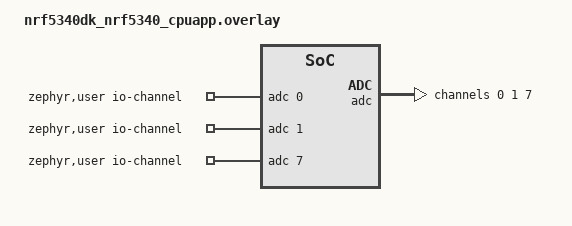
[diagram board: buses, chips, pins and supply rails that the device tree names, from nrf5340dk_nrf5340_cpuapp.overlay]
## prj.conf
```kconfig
CONFIG_GPIO=y

CONFIG_ADC=y
CONFIG_ADC_ASYNC=y
```

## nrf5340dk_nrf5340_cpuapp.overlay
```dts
// To get started, press Ctrl+Space to bring up the completion menu and view the available nodes.

// You can also use the buttons in the sidebar to perform actions on nodes.
// Actions currently available include:

// * Enabling / disabling the node
// * Adding the bus to a bus
// * Removing the node
// * Connecting ADC channels

// For more help, browse the DeviceTree documentation at https://docs.zephyrproject.org/latest/guides/dts/index.html
// You can also visit the nRF DeviceTree extension documentation at https://nrfconnect.github.io/vscode-nrf-connect/devicetree/nrfdevicetree.html


/ {
	zephyr,user {
		io-channels = <&adc 0>, <&adc 1>, <&adc 7>;
	};
};

&adc {
	#address-cells = <1>;
	#size-cells = <0>;

	channel@0 {
		reg = <0>;
		zephyr,gain = "ADC_GAIN_1_6";
		zephyr,reference = "ADC_REF_INTERNAL";
		zephyr,acquisition-time = <ADC_ACQ_TIME_DEFAULT>;
		zephyr,input-positive = <NRF_SAADC_AIN0>; /* P0.04 */
		zephyr,resolution = <12>;
	};

	channel@1 {
		reg = <1>;
		zephyr,gain = "ADC_GAIN_1_6";
		zephyr,reference = "ADC_REF_INTERNAL";
		zephyr,acquisition-time = <ADC_ACQ_TIME_DEFAULT>;
		zephyr,input-positive = <NRF_SAADC_VDD>;
		zephyr,resolution = <14>;
		zephyr,oversampling = <8>;
	};

	channel@7 {
		reg = <7>;
		zephyr,gain = "ADC_GAIN_1_5";
		zephyr,reference = "ADC_REF_VDD_1_4";
		zephyr,vref-mv = <750>;
		zephyr,acquisition-time = <ADC_ACQ_TIME_DEFAULT>;
		zephyr,input-positive = <NRF_SAADC_AIN6>; /* P0.30 */
		zephyr,input-negative = <NRF_SAADC_AIN7>; /* P0.31 */
		zephyr,resolution = <12>;
	};
};
```

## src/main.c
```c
/*
 * Copyright (c) 2016 Intel Corporation
 *
 * SPDX-License-Identifier: Apache-2.0
 */

#include <inttypes.h>
#include <stddef.h>
#include <stdint.h>

#include <zephyr/kernel.h>
#include <zephyr/drivers/gpio.h>
#include <zephyr/drivers/adc.h>
#include <zephyr/device.h>
#include <zephyr/devicetree.h>
#include <zephyr/sys/printk.h>
#include <zephyr/sys/util.h>

#if !DT_NODE_EXISTS(DT_PATH(zephyr_user)) || \
	!DT_NODE_HAS_PROP(DT_PATH(zephyr_user), io_channels)
#error "No suitable devicetree overlay specified"
#endif

#define DT_SPEC_AND_COMMA(node_id, prop, idx) \
	ADC_DT_SPEC_GET_BY_IDX(node_id, idx),

/* 1000 msec = 1 sec */
#define SLEEP_TIME_MS   1000

/* The devicetree node identifier for the "led0" alias. */
#define LED0_NODE DT_ALIAS(led0)

/*
 * A build error on this line means your board is unsupported.
 * See the sample documentation for information on how to fix this.
 */
static const struct gpio_dt_spec led = GPIO_DT_SPEC_GET(LED0_NODE, gpios);
static const struct gpio_dt_spec led_1 = GPIO_DT_SPEC_GET(DT_ALIAS(led1), gpios);
static const struct gpio_dt_spec button = GPIO_DT_SPEC_GET(DT_ALIAS(sw0), gpios);

//static const struct adc_dt_spec adc_chan0 = ADC_DT_SPEC_GET_BY_IDX(DT_PATH(zephyr_user), 0);

//static const struct adc_channel_cfg ch0_cfg_dt = ADC_CHANNEL_CFG_DT(DT_CHILD(DT_NODELABEL(adc), channel_0));

static const struct adc_dt_spec adc_channels[] = {
	DT_FOREACH_PROP_ELEM(DT_PATH(zephyr_user), io_channels,
			     DT_SPEC_AND_COMMA)
};

void main(void)
{
	int ret;

	int err;
	uint32_t count = 0;
	uint16_t buf;
	struct adc_sequence sequence = {
		.buffer = &buf,
		/* buffer size in bytes, not number of samples */
		.buffer_size = sizeof(buf),
	};

	/* Configure channels individually prior to sampling. */
	for (size_t i = 0U; i < ARRAY_SIZE(adc_channels); i++) {
		if (!device_is_ready(adc_channels[i].dev)) {
			printk("ADC controller device %s not ready\n", adc_channels[i].dev->name);
			return 0;
		}

		err = adc_channel_setup_dt(&adc_channels[i]);
		if (err < 0) {
			printk("Could not setup channel #%d (%d)\n", i, err);
			return 0;
		}
	}

	if (!device_is_ready(led.port)) {
		return;
	}

	if(!device_is_ready(led_1.port)){
		return;
	}

	if(!device_is_ready(button.port)){
		return;
	}

	ret = gpio_pin_configure_dt(&led, GPIO_OUTPUT_ACTIVE);
	if (ret < 0) {
		return;
	}

	ret = gpio_pin_configure_dt(&led_1, GPIO_OUTPUT_ACTIVE);
	if(ret < 0){
		return;
	}

	ret = gpio_pin_configure_dt(&button, GPIO_INPUT);
	if(ret < 0){
		return;
	}

	while (1) {
		int val = gpio_pin_get_dt(&button);

		printk("ADC reading[%u]:\n", count++);
		for (size_t i = 0U; i < ARRAY_SIZE(adc_channels); i++) {
			int32_t val_mv;

			printk("- %s, channel %d: ",
			       adc_channels[i].dev->name,
			       adc_channels[i].channel_id);

			(void)adc_sequence_init_dt(&adc_channels[i], &sequence);

			err = adc_read(adc_channels[i].dev, &sequence);
			if (err < 0) {
				printk("Could not read (%d)\n", err);
				continue;
			}

			/*
			 * If using differential mode, the 16 bit value
			 * in the ADC sample buffer should be a signed 2's
			 * complement value.
			 */
			if (adc_channels[i].channel_cfg.differential) {
				val_mv = (int32_t)((int16_t)buf);
			} else {
				val_mv = (int32_t)buf;
			}
			printk("%"PRId32, val_mv);
			err = adc_raw_to_millivolts_dt(&adc_channels[i],
						       &val_mv);
			/* conversion to mV may not be supported, skip if not */
			if (err < 0) {
				printk(" (value in mV not available)\n");
			} else {
				printk(" = %"PRId32" mV\n", val_mv);
			}
		}


		ret = gpio_pin_toggle_dt(&led);
		if (ret < 0) {
			return;
		}

		if(val){
			ret = gpio_pin_toggle_dt(&led_1);
			if(ret < 0){
				return;
			}
		}
		k_msleep(SLEEP_TIME_MS);
	}
}
```
